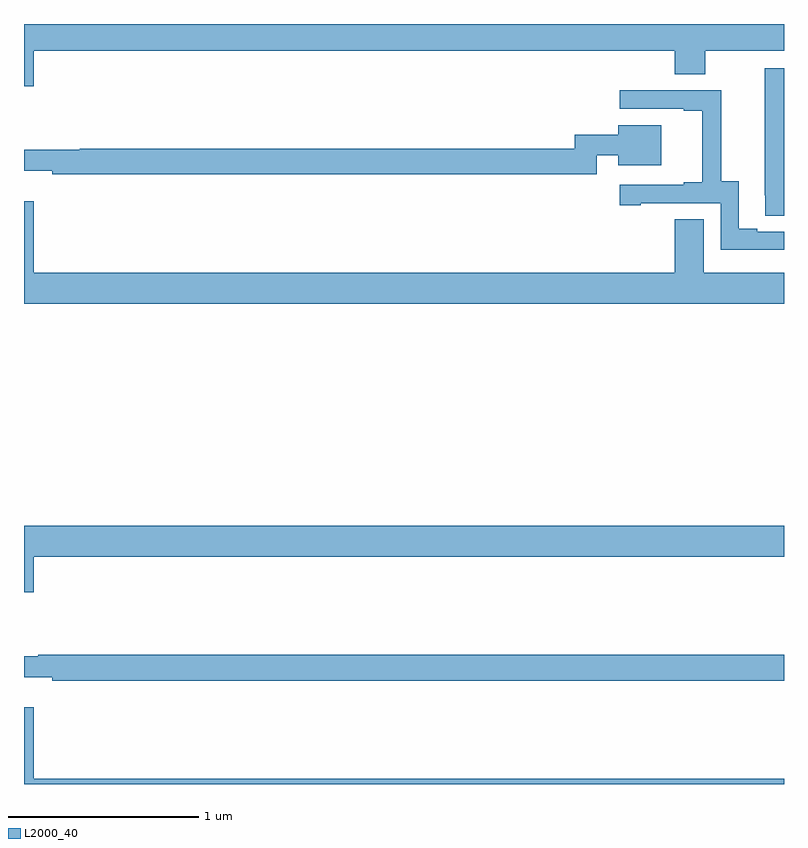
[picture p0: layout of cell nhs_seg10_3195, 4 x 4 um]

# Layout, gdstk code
import gdstk
lib = gdstk.Library(unit=1e-6, precision=1e-09)
def P(c, l, *ps):  # polygons
    for p in ps: c.add(gdstk.Polygon(p, *l))
L2000_40 = (2000, 40)

nhs_seg10_3195 = lib.new_cell('nhs_seg10_3195')
P(nhs_seg10_3195, L2000_40, [(285.052,1256.36),(288.425,1256.36),(288.425,1256.236),(288.585,1256.236),(288.585,1256.36),(289,1256.36),(289,1256.5),(285,1256.5),(285,1256.172),(285.052,1256.172)],
  [(289,1256.268),(288.899,1256.268),(288.899,1255.6),(288.9,1255.6),(288.9,1255.492),(289,1255.492)],
  [(289,1255.407),(288.859,1255.407),(288.859,1255.422),(288.763,1255.422),(288.763,1255.673),(288.669,1255.673),(288.669,1256.151),(288.135,1256.151),(288.135,1256.055),(288.473,1256.055),(288.473,1256.043),(288.569,1256.043),(288.569,1255.666),(288.473,1255.666),(288.473,1255.653),(288.135,1255.653),(288.135,1255.545),(288.247,1255.545),(288.247,1255.557),(288.666,1255.557),(288.666,1255.311),(289,1255.311)],
  [(288.015,1255.808),(288.128,1255.808),(288.128,1255.757),(288.355,1255.757),(288.355,1255.966),(288.128,1255.966),(288.128,1255.918),(287.899,1255.918),(287.899,1255.844),(285.293,1255.844),(285.293,1255.837),(285,1255.837),(285,1255.727),(285.148,1255.727),(285.148,1255.708),(288.015,1255.708)],
  [(289,1255.192),(288.577,1255.192),(288.577,1255.472),(288.425,1255.472),(288.425,1255.192),(285.052,1255.192),(285.052,1255.567),(285,1255.567),(285,1255.028),(289,1255.028)],
  [(285.052,1253.696),(289,1253.696),(289,1253.86),(285,1253.86),(285,1253.508),(285.052,1253.508)],
  [(289,1253.18),(285.076,1253.18),(285.076,1253.173),(285,1253.173),(285,1253.063),(285.148,1253.063),(285.148,1253.044),(289,1253.044)],
  [(289,1252.528),(285.052,1252.528),(285.052,1252.903),(285,1252.903),(285,1252.5),(289,1252.5)])

lib.write_gds('nhs_seg10_3195.gds')
